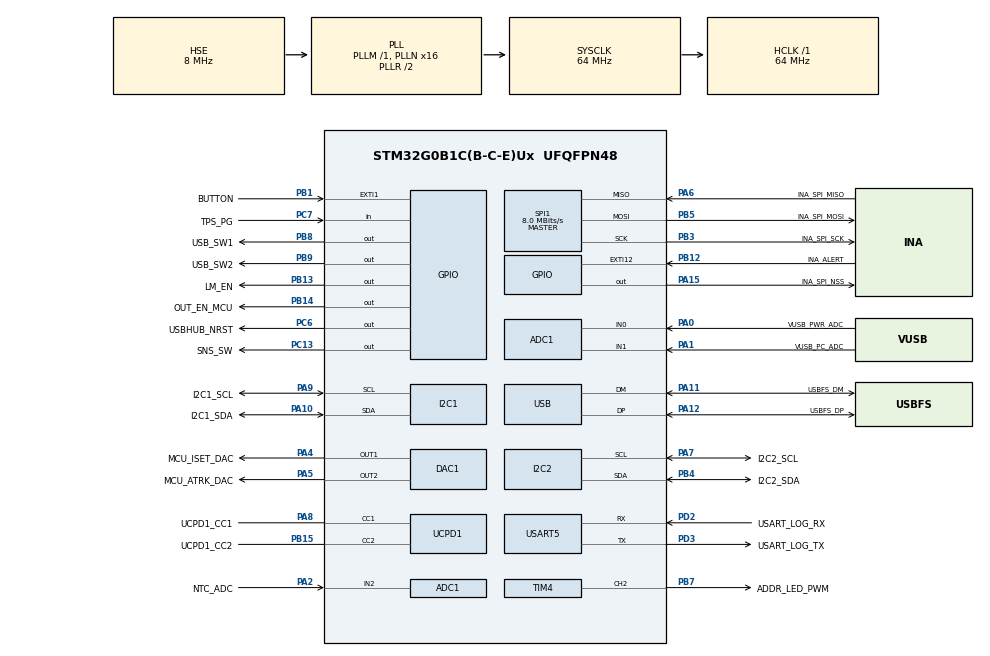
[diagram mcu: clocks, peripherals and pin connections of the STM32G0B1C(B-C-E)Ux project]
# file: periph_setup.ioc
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ADC1.Channel-0\#ChannelRegularConversion=ADC_CHANNEL_0
ADC1.NbrOfConversion=1
ADC1.NbrOfConversionFlag=1
ADC1.Rank-0\#ChannelRegularConversion=1
ADC1.SamplingTime-0\#ChannelRegularConversion=ADC_SAMPLINGTIME_COMMON_1
ADC1.SamplingTimeCommon1=ADC_SAMPLETIME_79CYCLES_5
ADC1.SamplingTimeCommon2=ADC_SAMPLETIME_79CYCLES_5
ADC1.SelectedChannel=ADC_CHANNEL_0|ADC_CHANNEL_1|ADC_CHANNEL_2|ADC_CHANNEL_VREFINT
ADC1.master=1
DAC1.DAC_Channel-DAC_OUT1=DAC_CHANNEL_1
DAC1.DAC_Channel-DAC_OUT2=DAC_CHANNEL_2
Dma.Request0=UCPD1_RX
Dma.Request1=UCPD1_TX
Dma.Request2=TIM4_CH2
Dma.TIM4_CH2.2.Direction=DMA_MEMORY_TO_PERIPH
Dma.TIM4_CH2.2.EventEnable=DISABLE
Dma.TIM4_CH2.2.Instance=DMA1_Channel1
Dma.TIM4_CH2.2.MemDataAlignment=DMA_MDATAALIGN_BYTE
Dma.TIM4_CH2.2.MemInc=DMA_MINC_ENABLE
Dma.TIM4_CH2.2.Mode=DMA_CIRCULAR
Dma.TIM4_CH2.2.PeriphDataAlignment=DMA_PDATAALIGN_HALFWORD
Dma.TIM4_CH2.2.PeriphInc=DMA_PINC_DISABLE
Dma.TIM4_CH2.2.Polarity=HAL_DMAMUX_REQ_GEN_RISING
Dma.TIM4_CH2.2.Priority=DMA_PRIORITY_LOW
Dma.TIM4_CH2.2.RequestNumber=1
Dma.TIM4_CH2.2.SignalID=NONE
Dma.TIM4_CH2.2.SyncEnable=DISABLE
Dma.TIM4_CH2.2.SyncPolarity=HAL_DMAMUX_SYNC_NO_EVENT
Dma.TIM4_CH2.2.SyncRequestNumber=1
Dma.TIM4_CH2.2.SyncSignalID=NONE
Dma.UCPD1_RX.0.Direction=DMA_PERIPH_TO_MEMORY
Dma.UCPD1_RX.0.EventEnable=DISABLE
Dma.UCPD1_RX.0.Instance=DMA1_Channel3
Dma.UCPD1_RX.0.MemDataAlignment=DMA_MDATAALIGN_BYTE
Dma.UCPD1_RX.0.MemInc=DMA_MINC_ENABLE
Dma.UCPD1_RX.0.Mode=DMA_NORMAL
Dma.UCPD1_RX.0.PeriphDataAlignment=DMA_PDATAALIGN_BYTE
Dma.UCPD1_RX.0.PeriphInc=DMA_PINC_DISABLE
Dma.UCPD1_RX.0.Polarity=HAL_DMAMUX_REQ_GEN_RISING
Dma.UCPD1_RX.0.Priority=DMA_PRIORITY_LOW
Dma.UCPD1_RX.0.RequestNumber=1
Dma.UCPD1_RX.0.SignalID=NONE
Dma.UCPD1_RX.0.SyncEnable=DISABLE
Dma.UCPD1_RX.0.SyncPolarity=HAL_DMAMUX_SYNC_NO_EVENT
Dma.UCPD1_RX.0.SyncRequestNumber=1
Dma.UCPD1_RX.0.SyncSignalID=NONE
Dma.UCPD1_TX.1.Direction=DMA_MEMORY_TO_PERIPH
Dma.UCPD1_TX.1.EventEnable=DISABLE
Dma.UCPD1_TX.1.Instance=DMA1_Channel4
Dma.UCPD1_TX.1.MemDataAlignment=DMA_MDATAALIGN_BYTE
Dma.UCPD1_TX.1.MemInc=DMA_MINC_ENABLE
Dma.UCPD1_TX.1.Mode=DMA_NORMAL
Dma.UCPD1_TX.1.PeriphDataAlignment=DMA_PDATAALIGN_BYTE
Dma.UCPD1_TX.1.PeriphInc=DMA_PINC_DISABLE
Dma.UCPD1_TX.1.Polarity=HAL_DMAMUX_REQ_GEN_RISING
Dma.UCPD1_TX.1.Priority=DMA_PRIORITY_LOW
Dma.UCPD1_TX.1.RequestNumber=1
Dma.UCPD1_TX.1.SignalID=NONE
Dma.UCPD1_TX.1.SyncEnable=DISABLE
Dma.UCPD1_TX.1.SyncPolarity=HAL_DMAMUX_SYNC_NO_EVENT
Dma.UCPD1_TX.1.SyncRequestNumber=1
Dma.UCPD1_TX.1.SyncSignalID=NONE
I2C1.Timing=0x10B17DB5
I2C2.Timing=0x10B17DB5
IWDG.Prescaler=IWDG_PRESCALER_32
Mcu.Family=STM32G0
Mcu.Name=STM32G0B1C(B-C-E)Ux
Mcu.Package=UFQFPN48
NVIC.ADC1_COMP_IRQn=true\:0\:0\:false\:false\:true\:true\:true\:true
NVIC.DMA1_Ch4_7_DMA2_Ch1_5_DMAMUX1_OVR_IRQn=true\:0\:0\:false\:false\:true\:false\:true\:true
NVIC.DMA1_Channel1_IRQn=true\:0\:0\:false\:false\:true\:false\:true\:true
NVIC.DMA1_Channel2_3_IRQn=true\:0\:0\:false\:false\:true\:false\:true\:true
NVIC.EXTI0_1_IRQn=true\:0\:0\:false\:false\:true\:true\:true\:true
NVIC.EXTI4_15_IRQn=true\:0\:0\:false\:false\:true\:true\:true\:true
NVIC.I2C1_IRQn=true\:0\:0\:false\:false\:true\:true\:true\:true
NVIC.SPI1_IRQn=true\:0\:0\:false\:false\:true\:true\:true\:true
NVIC.TIM2_IRQn=true\:3\:0\:false\:false\:true\:false\:true\:true
NVIC.TimeBase=TIM2_IRQn
NVIC.TimeBaseIP=TIM2
NVIC.USART3_4_5_6_LPUART1_IRQn=true\:0\:0\:false\:false\:true\:false\:true\:true
NVIC.USB_UCPD1_2_IRQn=true\:0\:0\:false\:false\:true\:true\:false\:true
PA0.GPIO_Label=VUSB_PWR_ADC
PA0.Mode=IN0
PA0.Signal=ADC1_IN0
PA1.GPIO_Label=VUSB_PC_ADC
PA1.Mode=IN1
PA1.Signal=ADC1_IN1
PA10.GPIO_Label=I2C1_SDA
PA10.Mode=I2C
PA10.Signal=I2C1_SDA
PA11\ [PA9].GPIO_Label=USBFS_DM
PA11\ [PA9].Mode=Device
PA11\ [PA9].Signal=USB_DM
PA12\ [PA10].GPIO_Label=USBFS_DP
PA12\ [PA10].Mode=Device
PA12\ [PA10].Signal=USB_DP
PA13.Mode=Serial_Wire
PA13.Signal=SYS_SWDIO
PA14-BOOT0.Mode=Serial_Wire
PA14-BOOT0.Signal=SYS_SWCLK
PA15.GPIO_Label=INA_SPI_NSS
PA15.GPIO_Speed=GPIO_SPEED_FREQ_VERY_HIGH
PA15.PinState=GPIO_PIN_SET
PA15.Signal=GPIO_Output
PA2.GPIO_Label=NTC_ADC
PA2.Mode=IN2
PA2.Signal=ADC1_IN2
PA3.Signal=SPI2_MISO
PA4.GPIO_Label=MCU_ISET_DAC
PA4.Signal=COMP_DAC11_group
PA5.GPIO_Label=MCU_ATRK_DAC
PA5.Signal=COMP_DAC12_group
PA6.GPIO_Label=INA_SPI_MISO
PA6.GPIO_Speed=GPIO_SPEED_FREQ_VERY_HIGH
PA6.Mode=Full_Duplex_Master
PA6.Signal=SPI1_MISO
PA7.GPIO_Label=I2C2_SCL
PA7.Mode=I2C
PA7.Signal=I2C2_SCL
PA8.GPIO_Label=UCPD1_CC1
PA8.Mode=Sink_AllSignals
PA8.Signal=UCPD1_CC1
PA9.GPIO_Label=I2C1_SCL
PA9.Mode=I2C
PA9.Signal=I2C1_SCL
PB0.GPIO_Label=USART_TRACE_RX
PB0.Signal=USART3_RX
PB1.GPIO_Label=BUTTON
PB1.GPIO_ModeDefaultEXTI=GPIO_MODE_IT_RISING_FALLING
PB1.Signal=GPXTI1
PB10.Signal=SPI2_SCK
PB11.Signal=SPI2_MOSI
PB12.GPIO_Label=INA_ALERT
PB12.GPIO_ModeDefaultEXTI=GPIO_MODE_IT_RISING_FALLING
PB12.Signal=GPXTI12
PB13.GPIO_Label=LM_EN
PB13.GPIO_ModeDefaultOutputPP=GPIO_MODE_OUTPUT_OD
PB13.GPIO_PuPd=GPIO_NOPULL
PB13.PinState=GPIO_PIN_RESET
PB13.Signal=GPIO_Output
PB14.GPIO_Label=OUT_EN_MCU
PB14.Signal=GPIO_Output
PB15.GPIO_Label=UCPD1_CC2
PB15.Mode=Sink_AllSignals
PB15.Signal=UCPD1_CC2
PB2.GPIO_Label=USART_TRACE_TX
PB2.Signal=USART3_TX
PB3.GPIO_Label=INA_SPI_SCK
PB3.GPIO_Speed=GPIO_SPEED_FREQ_VERY_HIGH
PB3.Mode=Full_Duplex_Master
PB3.Signal=SPI1_SCK
PB4.GPIO_Label=I2C2_SDA
PB4.Mode=I2C
PB4.Signal=I2C2_SDA
PB5.GPIO_Label=INA_SPI_MOSI
PB5.GPIO_Speed=GPIO_SPEED_FREQ_VERY_HIGH
PB5.Mode=Full_Duplex_Master
PB5.Signal=SPI1_MOSI
PB6.GPIO_Label=DTRK_PWM
PB6.Signal=S_TIM1_CH3
PB7.GPIO_Label=ADDR_LED_PWM
PB7.GPIO_Speed=GPIO_SPEED_FREQ_VERY_HIGH
PB7.Signal=S_TIM4_CH2
PB8.GPIO_Label=USB_SW1
PB8.PinState=GPIO_PIN_SET
PB8.Signal=GPIO_Output
PB9.GPIO_Label=USB_SW2
PB9.PinState=GPIO_PIN_SET
PB9.Signal=GPIO_Output
PC13.GPIO_Label=SNS_SW
PC13.GPIO_PuPd=GPIO_PULLUP
PC13.Signal=GPIO_Output
PC14-OSC32_IN\ (PC14).Mode=LSE-External-Oscillator
PC14-OSC32_IN\ (PC14).Signal=RCC_OSC32_IN
PC15-OSC32_OUT\ (PC15).Mode=LSE-External-Oscillator
PC15-OSC32_OUT\ (PC15).Signal=RCC_OSC32_OUT
PC6.GPIO_Label=USBHUB_NRST
PC6.GPIO_PuPd=GPIO_PULLUP
PC6.Signal=GPIO_Output
PC7.GPIO_Label=TPS_PG
PC7.Signal=GPIO_Input
PD2.GPIO_Label=USART_LOG_RX
PD2.Mode=Asynchronous
PD2.Signal=USART5_RX
PD3.GPIO_Label=USART_LOG_TX
PD3.Mode=Asynchronous
PD3.Signal=USART5_TX
PF0-OSC_IN\ (PF0).Mode=HSE-External-Oscillator
PF0-OSC_IN\ (PF0).Signal=RCC_OSC_IN
PF1-OSC_OUT\ (PF1).Mode=HSE-External-Oscillator
PF1-OSC_OUT\ (PF1).Signal=RCC_OSC_OUT
ProjectManager.HeapSize=0x200
ProjectManager.StackSize=0x400
ProjectManager.TargetToolchain=CMake
RCC.ADCFreq_Value=64000000
RCC.AHBFreq_Value=64000000
RCC.CortexFreq_Value=64000000
RCC.EXTERNAL_CLOCK_VALUE=48000
RCC.HCLKFreq_Value=64000000
RCC.HSE_VALUE=8000000
RCC.HSI48_VALUE=48000000
RCC.HSI_VALUE=16000000
RCC.PLLN=16
RCC.PLLSourceVirtual=RCC_PLLSOURCE_HSE
RCC.SYSCLKFreq_VALUE=64000000
RCC.SYSCLKSource=RCC_SYSCLKSOURCE_PLLCLK
RCC.USBFreq_Value=48000000
RCC.VCOOutputFreq_Value=128000000
SH.COMP_DAC11_group.0=DAC1_OUT1,DAC_OUT1
SH.COMP_DAC12_group.0=DAC1_OUT2,DAC_OUT2
SH.S_TIM1_CH3.0=TIM1_CH3
SH.S_TIM4_CH2.0=TIM4_CH2,PWM Generation2 CH2
SPI1.BaudRatePrescaler=SPI_BAUDRATEPRESCALER_8
SPI1.CLKPhase=SPI_PHASE_2EDGE
SPI1.CalculateBaudRate=8.0 MBits/s
SPI1.DataSize=SPI_DATASIZE_8BIT
SPI1.Direction=SPI_DIRECTION_2LINES
SPI1.Mode=SPI_MODE_MASTER
SPI1.TIMode=SPI_TIMODE_DISABLE
SPI1.VirtualType=VM_MASTER
TIM4.AutoReloadPreload=TIM_AUTORELOAD_PRELOAD_ENABLE
TIM4.Channel-PWM\ Generation2\ CH2=TIM_CHANNEL_2
TIM4.Period=80-1
USART5.VirtualMode-Asynchronous=VM_ASYNC
VP_ADC1_Vref_Input.Mode=IN-Vrefint
VP_IWDG_VS_IWDG.Mode=IWDG_Activate
VP_SYS_VS_DBSignals.Mode=DisableDeadBatterySignals
VP_SYS_VS_tim2.Mode=TIM2
VP_SYS_V_VREFBUF.Mode=ExternalMode
VP_TIM4_VS_ClockSourceINT.Mode=Internal
board=custom

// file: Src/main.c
/* USER CODE BEGIN Header */
/**
 ******************************************************************************
 * @file           : main.c
 * @brief          : Main program body
 ******************************************************************************
 * @attention
 *
 * Copyright (c) 2025 STMicroelectronics.
 * All rights reserved.
 *
 * This software is licensed under terms that can be found in the LICENSE file
 * in the root directory of this software component.
 * If no LICENSE file comes with this software, it is provided AS-IS.
 *
 ******************************************************************************
 */
/* USER CODE END Header */
#include "main.h"

/* USER CODE BEGIN Includes */
#include <usbpd_dpm_core.h>

#include "app.h"
#include "bsp/drivers/led/led.h"
/* USER CODE END Includes */

ADC_HandleTypeDef hadc1;

DAC_HandleTypeDef hdac1;

I2C_HandleTypeDef hi2c1;
I2C_HandleTypeDef hi2c2;

IWDG_HandleTypeDef hiwdg;

SPI_HandleTypeDef hspi1;

TIM_HandleTypeDef htim4;
DMA_HandleTypeDef hdma_tim4_ch2;

UART_HandleTypeDef huart5;

PCD_HandleTypeDef hpcd_USB_DRD_FS;

void        SystemClock_Config(void);
static void MX_GPIO_Init(void);
static void MX_DMA_Init(void);
static void MX_ADC1_Init(void);
static void MX_DAC1_Init(void);
static void MX_I2C1_Init(void);
static void MX_I2C2_Init(void);
static void MX_SPI1_Init(void);
static void MX_TIM4_Init(void);
static void MX_UCPD1_Init(void);
static void MX_USB_DRD_FS_PCD_Init(void);
static void MX_USART5_UART_Init(void);
static void MX_IWDG_Init(void);

int main(void)
{

    /* MCU
     * Configuration--------------------------------------------------------*/

    /* Reset of all peripherals, Initializes the Flash interface and the
     * Systick. */
    HAL_Init();

    /* Configure the system clock */
    SystemClock_Config();

    /* Initialize all configured peripherals */
    MX_GPIO_Init();
    MX_DMA_Init();
    MX_ADC1_Init();
    MX_DAC1_Init();
    MX_I2C1_Init();
    MX_I2C2_Init();
    MX_SPI1_Init();
    MX_TIM4_Init();
    MX_UCPD1_Init();
    MX_USB_DRD_FS_PCD_Init();
    MX_USART5_UART_Init();
    MX_IWDG_Init();
    /* USER CODE BEGIN 2 */
    led_init();

    // Enable DAC_CH1
    HAL_DAC_Start(&hdac1, DAC_CHANNEL_1);

    // MCU periph init done
    led_set(LED_USR, LED_COLOR_RED);

    app();
    /* USER CODE END 2 */

    /* Infinite loop */
    while (1) {

    }
}

void SystemClock_Config(void)
{
    RCC_OscInitTypeDef RCC_OscInitStruct = {0};
    RCC_ClkInitTypeDef RCC_ClkInitStruct = {0};

    /** Configure the main internal regulator output voltage
     */
    HAL_PWREx_ControlVoltageScaling(PWR_REGULATOR_VOLTAGE_SCALE1);

    /** Initializes the RCC Oscillators according to the specified parameters
     * in the RCC_OscInitTypeDef structure.
     */
    RCC_OscInitStruct.OscillatorType =
        RCC_OSCILLATORTYPE_HSI | RCC_OSCILLATORTYPE_LSI |
        RCC_OSCILLATORTYPE_HSE | RCC_OSCILLATORTYPE_HSI48;
    RCC_OscInitStruct.HSEState            = RCC_HSE_ON;
    RCC_OscInitStruct.HSIState            = RCC_HSI_ON;
    RCC_OscInitStruct.HSI48State          = RCC_HSI48_ON;
    RCC_OscInitStruct.HSIDiv              = RCC_HSI_DIV1;
    RCC_OscInitStruct.HSICalibrationValue = RCC_HSICALIBRATION_DEFAULT;
    RCC_OscInitStruct.LSIState            = RCC_LSI_ON;
    RCC_OscInitStruct.PLL.PLLState        = RCC_PLL_ON;
    RCC_OscInitStruct.PLL.PLLSource       = RCC_PLLSOURCE_HSE;
    RCC_OscInitStruct.PLL.PLLM            = RCC_PLLM_DIV1;
    RCC_OscInitStruct.PLL.PLLN            = 16;
    RCC_OscInitStruct.PLL.PLLP            = RCC_PLLP_DIV2;
    RCC_OscInitStruct.PLL.PLLQ            = RCC_PLLQ_DIV2;
    RCC_OscInitStruct.PLL.PLLR            = RCC_PLLR_DIV2;
    if (HAL_RCC_OscConfig(&RCC_OscInitStruct) != HAL_OK) {
        Error_Handler();
    }

    /** Initializes the CPU, AHB and APB buses clocks
     */
    RCC_ClkInitStruct.ClockType =
        RCC_CLOCKTYPE_HCLK | RCC_CLOCKTYPE_SYSCLK | RCC_CLOCKTYPE_PCLK1;
    RCC_ClkInitStruct.SYSCLKSource   = RCC_SYSCLKSOURCE_PLLCLK;
    RCC_ClkInitStruct.AHBCLKDivider  = RCC_SYSCLK_DIV1;
    RCC_ClkInitStruct.APB1CLKDivider = RCC_HCLK_DIV1;

    if (HAL_RCC_ClockConfig(&RCC_ClkInitStruct, FLASH_LATENCY_2) != HAL_OK) {
        Error_Handler();
    }
}

static void MX_ADC1_Init(void)
{

    ADC_ChannelConfTypeDef sConfig = {0};

    /** Configure the global features of the ADC (Clock, Resolution, Data
     * Alignment and number of conversion)
     */
    hadc1.Instance                   = ADC1;
    hadc1.Init.ClockPrescaler        = ADC_CLOCK_SYNC_PCLK_DIV2;
    hadc1.Init.Resolution            = ADC_RESOLUTION_12B;
    hadc1.Init.DataAlign             = ADC_DATAALIGN_RIGHT;
    hadc1.Init.ScanConvMode          = ADC_SCAN_DISABLE;
    hadc1.Init.EOCSelection          = ADC_EOC_SINGLE_CONV;
    hadc1.Init.LowPowerAutoWait      = DISABLE;
    hadc1.Init.LowPowerAutoPowerOff  = DISABLE;
    hadc1.Init.ContinuousConvMode    = DISABLE;
    hadc1.Init.NbrOfConversion       = 1;
    hadc1.Init.DiscontinuousConvMode = DISABLE;
    hadc1.Init.ExternalTrigConv      = ADC_SOFTWARE_START;
    hadc1.Init.ExternalTrigConvEdge  = ADC_EXTERNALTRIGCONVEDGE_NONE;
    hadc1.Init.DMAContinuousRequests = DISABLE;
    hadc1.Init.Overrun               = ADC_OVR_DATA_PRESERVED;
    hadc1.Init.SamplingTimeCommon1   = ADC_SAMPLETIME_79CYCLES_5;
    hadc1.Init.SamplingTimeCommon2   = ADC_SAMPLETIME_79CYCLES_5;
    hadc1.Init.OversamplingMode      = DISABLE;
    hadc1.Init.TriggerFrequencyMode  = ADC_TRIGGER_FREQ_HIGH;
    if (HAL_ADC_Init(&hadc1) != HAL_OK) {
        Error_Handler();
    }

    /** Configure Regular Channel
     */
    sConfig.Channel      = ADC_CHANNEL_0;
    sConfig.Rank         = ADC_REGULAR_RANK_1;
    sConfig.SamplingTime = ADC_SAMPLINGTIME_COMMON_1;
    if (HAL_ADC_ConfigChannel(&hadc1, &sConfig) != HAL_OK) {
        Error_Handler();
    }
}

static void MX_DAC1_Init(void)
{

    DAC_ChannelConfTypeDef sConfig = {0};

    /** DAC Initialization
     */
    hdac1.Instance = DAC1;
    if (HAL_DAC_Init(&hdac1) != HAL_OK) {
        Error_Handler();
    }

    /** DAC channel OUT1 config
     */
    sConfig.DAC_SampleAndHold           = DAC_SAMPLEANDHOLD_DISABLE;
    sConfig.DAC_Trigger                 = DAC_TRIGGER_NONE;
    sConfig.DAC_OutputBuffer            = DAC_OUTPUTBUFFER_ENABLE;
    sConfig.DAC_ConnectOnChipPeripheral = DAC_CHIPCONNECT_DISABLE;
    sConfig.DAC_UserTrimming            = DAC_TRIMMING_FACTORY;
    if (HAL_DAC_ConfigChannel(&hdac1, &sConfig, DAC_CHANNEL_1) != HAL_OK) {
        Error_Handler();
    }

    /** DAC channel OUT2 config
     */
    if (HAL_DAC_ConfigChannel(&hdac1, &sConfig, DAC_CHANNEL_2) != HAL_OK) {
        Error_Handler();
    }
}

static void MX_I2C1_Init(void)
{

    hi2c1.Instance              = I2C1;
    hi2c1.Init.Timing           = 0x10B17DB5;
    hi2c1.Init.OwnAddress1      = 0;
    hi2c1.Init.AddressingMode   = I2C_ADDRESSINGMODE_7BIT;
    hi2c1.Init.DualAddressMode  = I2C_DUALADDRESS_DISABLE;
    hi2c1.Init.OwnAddress2      = 0;
    hi2c1.Init.OwnAddress2Masks = I2C_OA2_NOMASK;
    hi2c1.Init.GeneralCallMode  = I2C_GENERALCALL_DISABLE;
    hi2c1.Init.NoStretchMode    = I2C_NOSTRETCH_DISABLE;
    if (HAL_I2C_Init(&hi2c1) != HAL_OK) {
        Error_Handler();
    }

    /** Configure Analogue filter
     */
    if (HAL_I2CEx_ConfigAnalogFilter(&hi2c1, I2C_ANALOGFILTER_ENABLE) !=
        HAL_OK) {
        Error_Handler();
    }

    /** Configure Digital filter
     */
    if (HAL_I2CEx_ConfigDigitalFilter(&hi2c1, 0) != HAL_OK) {
        Error_Handler();
    }
}

static void MX_I2C2_Init(void)
{

    hi2c2.Instance              = I2C2;
    hi2c2.Init.Timing           = 0x10B17DB5;
    hi2c2.Init.OwnAddress1      = 0;
    hi2c2.Init.AddressingMode   = I2C_ADDRESSINGMODE_7BIT;
    hi2c2.Init.DualAddressMode  = I2C_DUALADDRESS_DISABLE;
    hi2c2.Init.OwnAddress2      = 0;
    hi2c2.Init.OwnAddress2Masks = I2C_OA2_NOMASK;
    hi2c2.Init.GeneralCallMode  = I2C_GENERALCALL_DISABLE;
    hi2c2.Init.NoStretchMode    = I2C_NOSTRETCH_DISABLE;
    if (HAL_I2C_Init(&hi2c2) != HAL_OK) {
        Error_Handler();
    }

    /** Configure Analogue filter
     */
    if (HAL_I2CEx_ConfigAnalogFilter(&hi2c2, I2C_ANALOGFILTER_ENABLE) !=
        HAL_OK) {
        Error_Handler();
    }

    /** Configure Digital filter
     */
    if (HAL_I2CEx_ConfigDigitalFilter(&hi2c2, 0) != HAL_OK) {
        Error_Handler();
    }
}

static void MX_IWDG_Init(void)
{

    hiwdg.Instance       = IWDG;
    hiwdg.Init.Prescaler = IWDG_PRESCALER_32;
    hiwdg.Init.Window    = 4095;
    hiwdg.Init.Reload    = 4095;
    if (HAL_IWDG_Init(&hiwdg) != HAL_OK) {
        Error_Handler();
    }
    /* USER CODE BEGIN IWDG_Init 2 */
#ifdef DEBUG
    __HAL_RCC_DBGMCU_CLK_ENABLE();
    __HAL_DBGMCU_FREEZE_IWDG();
#endif
    /* USER CODE END IWDG_Init 2 */
}

static void MX_SPI1_Init(void)
{

    /* SPI1 parameter configuration*/
    hspi1.Instance               = SPI1;
    hspi1.Init.Mode              = SPI_MODE_MASTER;
    hspi1.Init.Direction         = SPI_DIRECTION_2LINES;
    hspi1.Init.DataSize          = SPI_DATASIZE_8BIT;
    hspi1.Init.CLKPolarity       = SPI_POLARITY_LOW;
    hspi1.Init.CLKPhase          = SPI_PHASE_2EDGE;
    hspi1.Init.NSS               = SPI_NSS_SOFT;
    hspi1.Init.BaudRatePrescaler = SPI_BAUDRATEPRESCALER_8;
    hspi1.Init.FirstBit          = SPI_FIRSTBIT_MSB;
    hspi1.Init.TIMode            = SPI_TIMODE_DISABLE;
    hspi1.Init.CRCCalculation    = SPI_CRCCALCULATION_DISABLE;
    hspi1.Init.CRCPolynomial     = 7;
    hspi1.Init.CRCLength         = SPI_CRC_LENGTH_DATASIZE;
    hspi1.Init.NSSPMode          = SPI_NSS_PULSE_DISABLE;
    if (HAL_SPI_Init(&hspi1) != HAL_OK) {
        Error_Handler();
    }
}

static void MX_TIM4_Init(void)
{

    TIM_ClockConfigTypeDef  sClockSourceConfig = {0};
    TIM_MasterConfigTypeDef sMasterConfig      = {0};
    TIM_OC_InitTypeDef      sConfigOC          = {0};

    htim4.Instance               = TIM4;
    htim4.Init.Prescaler         = 0;
    htim4.Init.CounterMode       = TIM_COUNTERMODE_UP;
    htim4.Init.Period            = 80 - 1;
    htim4.Init.ClockDivision     = TIM_CLOCKDIVISION_DIV1;
    htim4.Init.AutoReloadPreload = TIM_AUTORELOAD_PRELOAD_ENABLE;
    if (HAL_TIM_Base_Init(&htim4) != HAL_OK) {
        Error_Handler();
    }
    sClockSourceConfig.ClockSource = TIM_CLOCKSOURCE_INTERNAL;
    if (HAL_TIM_ConfigClockSource(&htim4, &sClockSourceConfig) != HAL_OK) {
        Error_Handler();
    }
    if (HAL_TIM_PWM_Init(&htim4) != HAL_OK) {
        Error_Handler();
    }
    sMasterConfig.MasterOutputTrigger = TIM_TRGO_RESET;
    sMasterConfig.MasterSlaveMode     = TIM_MASTERSLAVEMODE_DISABLE;
    if (HAL_TIMEx_MasterConfigSynchronization(&htim4, &sMasterConfig) !=
        HAL_OK) {
        Error_Handler();
    }
    sConfigOC.OCMode     = TIM_OCMODE_PWM1;
    sConfigOC.Pulse      = 0;
    sConfigOC.OCPolarity = TIM_OCPOLARITY_HIGH;
    sConfigOC.OCFastMode = TIM_OCFAST_DISABLE;
    if (HAL_TIM_PWM_ConfigChannel(&htim4, &sConfigOC, TIM_CHANNEL_2) !=
        HAL_OK) {
        Error_Handler();
    }
    HAL_TIM_MspPostInit(&htim4);
}

static void MX_UCPD1_Init(void)
{

    LL_GPIO_InitTypeDef GPIO_InitStruct = {0};

    /* Peripheral clock enable */
    LL_APB1_GRP1_EnableClock(LL_APB1_GRP1_PERIPH_UCPD1);

    LL_IOP_GRP1_EnableClock(LL_IOP_GRP1_PERIPH_GPIOB);
    LL_IOP_GRP1_EnableClock(LL_IOP_GRP1_PERIPH_GPIOA);
    /**UCPD1 GPIO Configuration
    PB15   ------> UCPD1_CC2
    PA8   ------> UCPD1_CC1
    */
    GPIO_InitStruct.Pin  = LL_GPIO_PIN_15;
    GPIO_InitStruct.Mode = LL_GPIO_MODE_ANALOG;
    GPIO_InitStruct.Pull = LL_GPIO_PULL_NO;
    LL_GPIO_Init(GPIOB, &GPIO_InitStruct);

    GPIO_InitStruct.Pin  = LL_GPIO_PIN_8;
    GPIO_InitStruct.Mode = LL_GPIO_MODE_ANALOG;
    GPIO_InitStruct.Pull = LL_GPIO_PULL_NO;
    LL_GPIO_Init(GPIOA, &GPIO_InitStruct);

    /* UCPD1 DMA Init */

    /* UCPD1_RX Init */
    LL_DMA_SetPeriphRequest(DMA1, LL_DMA_CHANNEL_3, LL_DMAMUX_REQ_UCPD1_RX);

    LL_DMA_SetDataTransferDirection(
        DMA1, LL_DMA_CHANNEL_3, LL_DMA_DIRECTION_PERIPH_TO_MEMORY
    );

    LL_DMA_SetChannelPriorityLevel(DMA1, LL_DMA_CHANNEL_3, LL_DMA_PRIORITY_LOW);

    LL_DMA_SetMode(DMA1, LL_DMA_CHANNEL_3, LL_DMA_MODE_NORMAL);

    LL_DMA_SetPeriphIncMode(DMA1, LL_DMA_CHANNEL_3, LL_DMA_PERIPH_NOINCREMENT);

    LL_DMA_SetMemoryIncMode(DMA1, LL_DMA_CHANNEL_3, LL_DMA_MEMORY_INCREMENT);

    LL_DMA_SetPeriphSize(DMA1, LL_DMA_CHANNEL_3, LL_DMA_PDATAALIGN_BYTE);

    LL_DMA_SetMemorySize(DMA1, LL_DMA_CHANNEL_3, LL_DMA_MDATAALIGN_BYTE);

    /* UCPD1_TX Init */
    LL_DMA_SetPeriphRequest(DMA1, LL_DMA_CHANNEL_4, LL_DMAMUX_REQ_UCPD1_TX);

    LL_DMA_SetDataTransferDirection(
        DMA1, LL_DMA_CHANNEL_4, LL_DMA_DIRECTION_MEMORY_TO_PERIPH
    );

    LL_DMA_SetChannelPriorityLevel(DMA1, LL_DMA_CHANNEL_4, LL_DMA_PRIORITY_LOW);

    LL_DMA_SetMode(DMA1, LL_DMA_CHANNEL_4, LL_DMA_MODE_NORMAL);

    LL_DMA_SetPeriphIncMode(DMA1, LL_DMA_CHANNEL_4, LL_DMA_PERIPH_NOINCREMENT);

    LL_DMA_SetMemoryIncMode(DMA1, LL_DMA_CHANNEL_4, LL_DMA_MEMORY_INCREMENT);

    LL_DMA_SetPeriphSize(DMA1, LL_DMA_CHANNEL_4, LL_DMA_PDATAALIGN_BYTE);

    LL_DMA_SetMemorySize(DMA1, LL_DMA_CHANNEL_4, LL_DMA_MDATAALIGN_BYTE);

    /* UCPD1 interrupt Init */
    NVIC_SetPriority(USB_UCPD1_2_IRQn, 0);
    NVIC_EnableIRQ(USB_UCPD1_2_IRQn);

}

static void MX_USART5_UART_Init(void)
{

    huart5.Instance                    = USART5;
    huart5.Init.BaudRate               = 115200;
    huart5.Init.WordLength             = UART_WORDLENGTH_8B;
    huart5.Init.StopBits               = UART_STOPBITS_1;
    huart5.Init.Parity                 = UART_PARITY_NONE;
    huart5.Init.Mode                   = UART_MODE_TX_RX;
    huart5.Init.HwFlowCtl              = UART_HWCONTROL_NONE;
    huart5.Init.OverSampling           = UART_OVERSAMPLING_16;
    huart5.Init.OneBitSampling         = UART_ONE_BIT_SAMPLE_DISABLE;
    huart5.Init.ClockPrescaler         = UART_PRESCALER_DIV1;
    huart5.AdvancedInit.AdvFeatureInit = UART_ADVFEATURE_NO_INIT;
    if (HAL_UART_Init(&huart5) != HAL_OK) {
        Error_Handler();
    }
}

static void MX_USB_DRD_FS_PCD_Init(void)
{

    hpcd_USB_DRD_FS.Instance                      = USB_DRD_FS;
    hpcd_USB_DRD_FS.Init.dev_endpoints            = 8;
    hpcd_USB_DRD_FS.Init.Host_channels            = 8;
    hpcd_USB_DRD_FS.Init.speed                    = PCD_SPEED_FULL;
    hpcd_USB_DRD_FS.Init.phy_itface               = PCD_PHY_EMBEDDED;
    hpcd_USB_DRD_FS.Init.Sof_enable               = DISABLE;
    hpcd_USB_DRD_FS.Init.low_power_enable         = DISABLE;
    hpcd_USB_DRD_FS.Init.lpm_enable               = DISABLE;
    hpcd_USB_DRD_FS.Init.battery_charging_enable  = DISABLE;
    hpcd_USB_DRD_FS.Init.vbus_sensing_enable      = DISABLE;
    hpcd_USB_DRD_FS.Init.bulk_doublebuffer_enable = DISABLE;
    hpcd_USB_DRD_FS.Init.iso_singlebuffer_enable  = DISABLE;
    if (HAL_PCD_Init(&hpcd_USB_DRD_FS) != HAL_OK) {
        Error_Handler();
    }
}

static void MX_DMA_Init(void)
{

    /* DMA controller clock enable */
    __HAL_RCC_DMA1_CLK_ENABLE();

    /* DMA interrupt init */
    /* DMA1_Channel1_IRQn interrupt configuration */
    HAL_NVIC_SetPriority(DMA1_Channel1_IRQn, 0, 0);
    HAL_NVIC_EnableIRQ(DMA1_Channel1_IRQn);
    /* DMA1_Channel2_3_IRQn interrupt configuration */
    NVIC_SetPriority(DMA1_Channel2_3_IRQn, 0);
    NVIC_EnableIRQ(DMA1_Channel2_3_IRQn);
    /* DMA1_Ch4_7_DMA2_Ch1_5_DMAMUX1_OVR_IRQn interrupt configuration */
    HAL_NVIC_SetPriority(DMA1_Ch4_7_DMA2_Ch1_5_DMAMUX1_OVR_IRQn, 0, 0);
    HAL_NVIC_EnableIRQ(DMA1_Ch4_7_DMA2_Ch1_5_DMAMUX1_OVR_IRQn);
}

static void MX_GPIO_Init(void)
{
    GPIO_InitTypeDef GPIO_InitStruct = {0};

    /* GPIO Ports Clock Enable */
    __HAL_RCC_GPIOC_CLK_ENABLE();
    __HAL_RCC_GPIOF_CLK_ENABLE();
    __HAL_RCC_GPIOA_CLK_ENABLE();
    __HAL_RCC_GPIOB_CLK_ENABLE();
    __HAL_RCC_GPIOD_CLK_ENABLE();

    /*Configure GPIO pin Output Level */
    HAL_GPIO_WritePin(GPIOC, SNS_SW_Pin | USBHUB_NRST_Pin, GPIO_PIN_RESET);

    /*Configure GPIO pin Output Level */
    HAL_GPIO_WritePin(GPIOB, LM_EN_Pin | OUT_EN_MCU_Pin, GPIO_PIN_RESET);

    /*Configure GPIO pin Output Level */
    HAL_GPIO_WritePin(INA_SPI_NSS_GPIO_Port, INA_SPI_NSS_Pin, GPIO_PIN_SET);

    /*Configure GPIO pin Output Level */
    HAL_GPIO_WritePin(GPIOB, USB_SW1_Pin | USB_SW2_Pin, GPIO_PIN_SET);

    /*Configure GPIO pins : SNS_SW_Pin USBHUB_NRST_Pin */
    GPIO_InitStruct.Pin   = SNS_SW_Pin | USBHUB_NRST_Pin;
    GPIO_InitStruct.Mode  = GPIO_MODE_OUTPUT_PP;
    GPIO_InitStruct.Pull  = GPIO_PULLUP;
    GPIO_InitStruct.Speed = GPIO_SPEED_FREQ_LOW;
    HAL_GPIO_Init(GPIOC, &GPIO_InitStruct);

    /*Configure GPIO pin : PA3 */
    GPIO_InitStruct.Pin       = GPIO_PIN_3;
    GPIO_InitStruct.Mode      = GPIO_MODE_AF_PP;
    GPIO_InitStruct.Pull      = GPIO_NOPULL;
    GPIO_InitStruct.Speed     = GPIO_SPEED_FREQ_LOW;
    GPIO_InitStruct.Alternate = GPIO_AF0_SPI2;
    HAL_GPIO_Init(GPIOA, &GPIO_InitStruct);

    /*Configure GPIO pins : USART_TRACE_RX_Pin USART_TRACE_TX_Pin */
    GPIO_InitStruct.Pin       = USART_TRACE_RX_Pin | USART_TRACE_TX_Pin;
    GPIO_InitStruct.Mode      = GPIO_MODE_AF_PP;
    GPIO_InitStruct.Pull      = GPIO_NOPULL;
    GPIO_InitStruct.Speed     = GPIO_SPEED_FREQ_LOW;
    GPIO_InitStruct.Alternate = GPIO_AF4_USART3;
    HAL_GPIO_Init(GPIOB, &GPIO_InitStruct);

    /*Configure GPIO pins : BUTTON_Pin INA_ALERT_Pin */
    GPIO_InitStruct.Pin  = BUTTON_Pin | INA_ALERT_Pin;
    GPIO_InitStruct.Mode = GPIO_MODE_IT_RISING_FALLING;
    GPIO_InitStruct.Pull = GPIO_NOPULL;
    HAL_GPIO_Init(GPIOB, &GPIO_InitStruct);

    /*Configure GPIO pin : PB10 */
    GPIO_InitStruct.Pin       = GPIO_PIN_10;
    GPIO_InitStruct.Mode      = GPIO_MODE_AF_PP;
    GPIO_InitStruct.Pull      = GPIO_NOPULL;
    GPIO_InitStruct.Speed     = GPIO_SPEED_FREQ_LOW;
    GPIO_InitStruct.Alternate = GPIO_AF5_SPI2;
    HAL_GPIO_Init(GPIOB, &GPIO_InitStruct);

    /*Configure GPIO pin : PB11 */
    GPIO_InitStruct.Pin       = GPIO_PIN_11;
    GPIO_InitStruct.Mode      = GPIO_MODE_AF_PP;
    GPIO_InitStruct.Pull      = GPIO_NOPULL;
    GPIO_InitStruct.Speed     = GPIO_SPEED_FREQ_LOW;
    GPIO_InitStruct.Alternate = GPIO_AF0_SPI2;
    HAL_GPIO_Init(GPIOB, &GPIO_InitStruct);

    /*Configure GPIO pin : LM_EN_Pin */
    GPIO_InitStruct.Pin   = LM_EN_Pin;
    GPIO_InitStruct.Mode  = GPIO_MODE_OUTPUT_OD;
    GPIO_InitStruct.Pull  = GPIO_NOPULL;
    GPIO_InitStruct.Speed = GPIO_SPEED_FREQ_LOW;
    HAL_GPIO_Init(LM_EN_GPIO_Port, &GPIO_InitStruct);

    /*Configure GPIO pins : OUT_EN_MCU_Pin USB_SW1_Pin USB_SW2_Pin */
    GPIO_InitStruct.Pin   = OUT_EN_MCU_Pin | USB_SW1_Pin | USB_SW2_Pin;
    GPIO_InitStruct.Mode  = GPIO_MODE_OUTPUT_PP;
    GPIO_InitStruct.Pull  = GPIO_NOPULL;
    GPIO_InitStruct.Speed = GPIO_SPEED_FREQ_LOW;
    HAL_GPIO_Init(GPIOB, &GPIO_InitStruct);

    /*Configure GPIO pin : TPS_PG_Pin */
    GPIO_InitStruct.Pin  = TPS_PG_Pin;
    GPIO_InitStruct.Mode = GPIO_MODE_INPUT;
    GPIO_InitStruct.Pull = GPIO_NOPULL;
    HAL_GPIO_Init(TPS_PG_GPIO_Port, &GPIO_InitStruct);

    /*Configure GPIO pin : INA_SPI_NSS_Pin */
    GPIO_InitStruct.Pin   = INA_SPI_NSS_Pin;
    GPIO_InitStruct.Mode  = GPIO_MODE_OUTPUT_PP;
    GPIO_InitStruct.Pull  = GPIO_NOPULL;
    GPIO_InitStruct.Speed = GPIO_SPEED_FREQ_VERY_HIGH;
    HAL_GPIO_Init(INA_SPI_NSS_GPIO_Port, &GPIO_InitStruct);

    /*Configure GPIO pin : DTRK_PWM_Pin */
    GPIO_InitStruct.Pin       = DTRK_PWM_Pin;
    GPIO_InitStruct.Mode      = GPIO_MODE_AF_PP;
    GPIO_InitStruct.Pull      = GPIO_NOPULL;
    GPIO_InitStruct.Speed     = GPIO_SPEED_FREQ_LOW;
    GPIO_InitStruct.Alternate = GPIO_AF1_TIM1;
    HAL_GPIO_Init(DTRK_PWM_GPIO_Port, &GPIO_InitStruct);

    /* EXTI interrupt init*/
    HAL_NVIC_SetPriority(EXTI0_1_IRQn, 0, 0);
    HAL_NVIC_EnableIRQ(EXTI0_1_IRQn);

    HAL_NVIC_SetPriority(EXTI4_15_IRQn, 0, 0);
    HAL_NVIC_EnableIRQ(EXTI4_15_IRQn);

}

void HAL_TIM_PeriodElapsedCallback(TIM_HandleTypeDef* htim)
{
    if (htim->Instance == TIM2) {
        HAL_IncTick();
    }
    /* USER CODE BEGIN Callback 1 */
    if (htim->Instance == TIM2) {
        USBPD_DPM_TimerCounter();
    }
    /* USER CODE END Callback 1 */
}

void Error_Handler(void)
{
    /* USER CODE BEGIN Error_Handler_Debug */
    /* User can add his own implementation to report the HAL error return state
     */
    __disable_irq();
    while (1) {}
    /* USER CODE END Error_Handler_Debug */
}
#ifdef USE_FULL_ASSERT
/**
 * @brief  Reports the name of the source file and the source line number
 *         where the assert_param error has occurred.
 * @param  file: pointer to the source file name
 * @param  line: assert_param error line source number
 * @retval None
 */
void assert_failed(uint8_t* file, uint32_t line)
{
    /* USER CODE BEGIN 6 */
    /* User can add his own implementation to report the file name and line
       number, ex: printf("Wrong parameters value: file %s on line %d\r\n",
       file, line) */
    /* USER CODE END 6 */
}
#endif /* USE_FULL_ASSERT */
